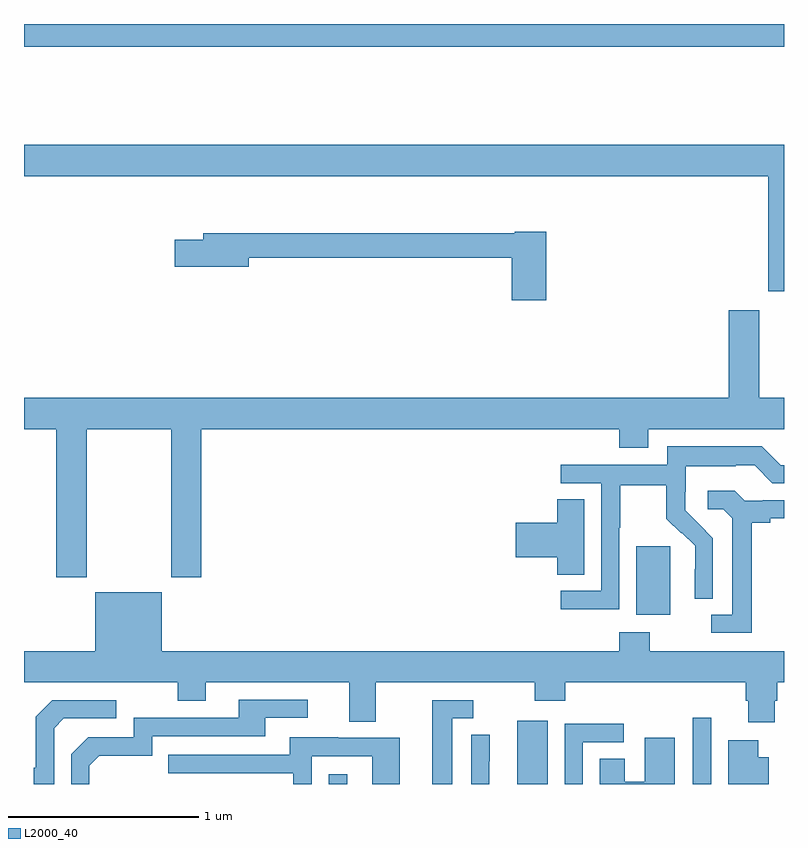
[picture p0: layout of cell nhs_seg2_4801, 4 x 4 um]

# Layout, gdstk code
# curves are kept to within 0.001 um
import gdstk
lib = gdstk.Library(unit=1e-6, precision=1e-09)
def R(c, l, rs):  # rectangles x0, y0, x1, y1
    for r in rs: c.add(gdstk.rectangle(r[:2], r[2:], *l))
def P(c, l, *ps):  # polygons
    for p in ps: c.add(gdstk.Polygon(p, *l))
L2000_40 = (2000, 40)

nhs_seg2_4801 = lib.new_cell('nhs_seg2_4801')
R(nhs_seg2_4801, L2000_40, [(374.604,613.8,374.701,613.852), (375.596,613.8,375.757,614.134), (376.521,613.8,376.617,614.149), (376.223,614.69,376.402,615.051), (373,617.68,377,617.8)])
P(nhs_seg2_4801, L2000_40, [(377,617.164),(373,617.164),(373,617),(376.916,617),(376.916,616.394),(377,616.394)],
  [(375.749,616.707),(375.582,616.707),(375.582,616.699),(373.943,616.699),(373.943,616.665),(373.794,616.665),(373.794,616.523),(374.182,616.523),(374.182,616.57),(375.566,616.57),(375.566,616.347),(375.749,616.347)],
  [(373.329,615.668),(373.774,615.668),(373.774,614.889),(373.934,614.889),(373.934,615.668),(376.133,615.668),(376.133,615.569),(376.285,615.569),(376.285,615.668),(377,615.668),(377,615.832),(376.869,615.832),(376.869,616.294),(376.709,616.294),(376.709,615.832),(373,615.832),(373,615.668),(373.169,615.668),(373.169,614.889),(373.329,614.889)],
  [(376.134,615.148),(376.137,615.148),(376.137,615.372),(376.381,615.372),(376.381,615.197),(376.458,615.12),(376.461,615.123),(376.532,615.053),(376.532,614.93),(376.53,614.93),(376.53,614.776),(376.626,614.776),(376.626,615.094),(376.48,615.242),(376.48,615.339),(376.482,615.339),(376.482,615.473),(376.745,615.473),(376.745,615.477),(376.845,615.477),(376.938,615.384),(377,615.384),(377,615.477),(376.983,615.477),(376.883,615.577),(376.386,615.577),(376.386,615.48),(375.825,615.48),(375.825,615.384),(376.038,615.384),(376.038,614.817),(375.825,614.817),(375.825,614.719),(376.134,614.719)],
  [(376.831,615.176),(376.927,615.176),(376.927,615.198),(377,615.198),(377,615.294),(376.888,615.294),(376.888,615.291),(376.794,615.291),(376.742,615.343),(376.599,615.343),(376.599,615.246),(376.68,615.246),(376.727,615.199),(376.727,614.691),(376.617,614.691),(376.617,614.595),(376.831,614.595)],
  [(375.949,615.299),(375.806,615.299),(375.806,615.176),(375.588,615.176),(375.588,614.993),(375.806,614.993),(375.806,614.902),(375.949,614.902)],
  [(376.951,614.238),(376.964,614.238),(376.964,614.336),(377,614.336),(377,614.5),(376.293,614.5),(376.293,614.599),(376.133,614.599),(376.133,614.5),(373.726,614.5),(373.726,614.809),(373.376,614.809),(373.376,614.5),(373,614.5),(373,614.336),(373.81,614.336),(373.81,614.237),(373.957,614.237),(373.957,614.336),(374.711,614.336),(374.711,614.128),(374.851,614.128),(374.851,614.336),(375.688,614.336),(375.688,614.237),(375.848,614.237),(375.848,614.336),(376.799,614.336),(376.799,614.238),(376.811,614.238),(376.811,614.124),(376.951,614.124)],
  [(373.344,613.896),(373.397,613.949),(373.674,613.949),(373.674,614.052),(374.269,614.052),(374.269,614.148),(374.494,614.148),(374.494,614.244),(374.129,614.244),(374.129,614.148),(373.578,614.148),(373.578,614.046),(373.338,614.046),(373.248,613.956),(373.248,613.8),(373.344,613.8)],
  [(375.253,614.145),(375.364,614.145),(375.364,614.241),(375.149,614.241),(375.149,613.8),(375.253,613.8)],
  [(373.158,614.094),(373.209,614.145),(373.486,614.145),(373.486,614.241),(373.149,614.241),(373.062,614.154),(373.062,613.885),(373.05,613.885),(373.05,613.8),(373.158,613.8)],
  [(375.942,614.019),(376.156,614.019),(376.156,614.118),(375.846,614.118),(375.846,613.8),(375.942,613.8)],
  [(375.449,613.919),(375.451,613.919),(375.451,614.06),(375.354,614.06),(375.354,613.8),(375.449,613.8)],
  [(374.514,613.947),(374.832,613.947),(374.832,613.8),(374.977,613.8),(374.977,614.043),(374.653,614.043),(374.653,614.047),(374.399,614.047),(374.399,613.953),(373.759,613.953),(373.759,613.857),(374.418,613.857),(374.418,613.8),(374.514,613.8)],
  [(376.426,614.044),(376.268,614.044),(376.268,613.813),(376.162,613.813),(376.162,613.934),(376.031,613.934),(376.031,613.8),(376.426,613.8)],
  [(376.921,613.942),(376.864,613.942),(376.864,614.029),(376.706,614.029),(376.706,613.8),(376.921,613.8)])

lib.write_gds('nhs_seg2_4801.gds')
